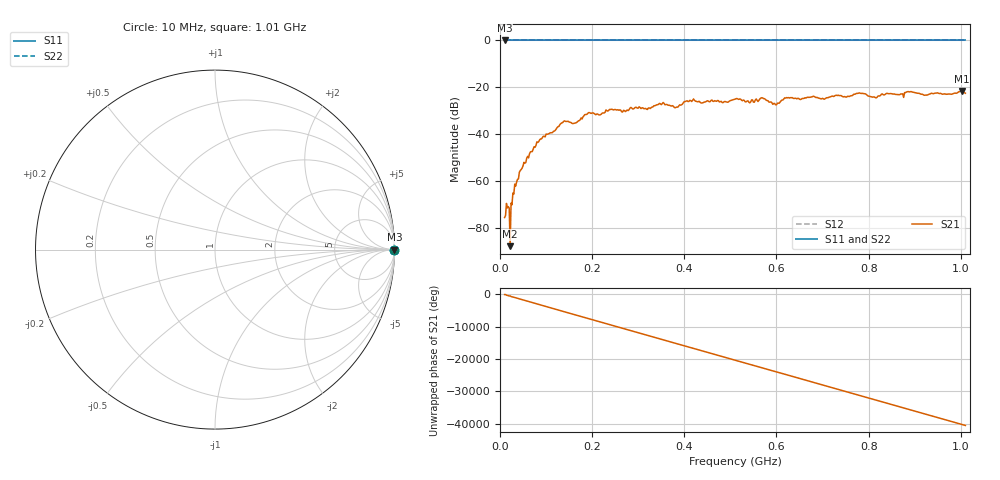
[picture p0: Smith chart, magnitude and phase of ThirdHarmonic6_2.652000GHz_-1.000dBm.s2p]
! 8/17/2025 6:03:40 AM
! C:\ANRITSUVNA\TEMP\TEMP.S2P
! CHANNEL.1
! TR.MEASUREMENT
! RAW.DATA
! RF.CORRECTION.OFF
! AVERAGING.OFF
! IF.BANDWIDTH: 5KHZ
! SWEEPTYPE:  FREQ.SWEEP(Linear)
! Reference Plane Port Info
! PORT:  PORT1  PORT2
! DISTANCE:  0  m  0  m
! TIME:  0  s  0  s
! PHASE.OFFSET:  0  deg.  0  deg.
! LOSS:  0  dB  0  dB
! REF.LOSS:  0  dB  0  dB
! REF.FREQ:  0  Hz  0  Hz
! Power Info
! POWER:  -20  dBm  -20  dBm
! EFF.POWER:  -20  dBm  -20  dBm
! SOURCE.ATTEN:  0  dB  0  dB
! TEST.ATTEN:  0  dB  0  dB
# GHZ S RI R 50.0
! FREQ.GHZ  S11RE  S11IM  S21RE  S21IM  S12RE  S12IM  S22RE  S22IM
!; PortSelection: Port_12
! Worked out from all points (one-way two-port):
!   501 points, 10 MHz to 1.01 GHz, reference 50 ohm
!   highest |S21| = -21.49 dB at 1.002 GHz (marker M1); lowest = -87.6 dB at 22 MHz (marker M2)
!   lowest |S11| = 0.0 dB at 10 MHz (marker M3)
!   |S11| at or under -10 dB: nowhere
!   |S22| runs from 0.0 to 0.0 dB; largest |S21 - S12| = 1.1
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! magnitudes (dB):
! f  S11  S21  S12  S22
! 10 MHz  0.0  -75.4  0.0  0.0
! 16 MHz  0.0  -71.3  0.0  0.0
! 22 MHz  0.0  -87.6  0.0  0.0
! 26 MHz  0.0  -70.0  0.0  0.0
! 32 MHz  0.0  -61.2  0.0  0.0
! 46 MHz  0.0  -55.0  0.0  0.0
! 84 MHz  0.0  -43.1  0.0  0.0
! 136 MHz  0.0  -34.9  0.0  0.0
! 162 MHz  0.0  -35.3  0.0  0.0
! 178 MHz  0.0  -33.5  0.0  0.0
! 194 MHz  0.0  -30.7  0.0  0.0
! 344 MHz  0.0  -27.2  0.0  0.0
! 382 MHz  0.0  -28.5  0.0  0.0
! 416 MHz  0.0  -26.0  0.0  0.0
! 510 MHz  0.0  -25.0  0.0  0.0
! 570 MHz  0.0  -24.5  0.0  0.0
! 596 MHz  0.0  -26.8  0.0  0.0
! 622 MHz  0.0  -24.3  0.0  0.0
! 678 MHz  0.0  -24.0  0.0  0.0
! 844 MHz  0.0  -22.7  0.0  0.0
! 1.002 GHz  0.0  -21.5  0.0  0.0
! 1.01 GHz  0.0  -22.5  0.0  0.0
